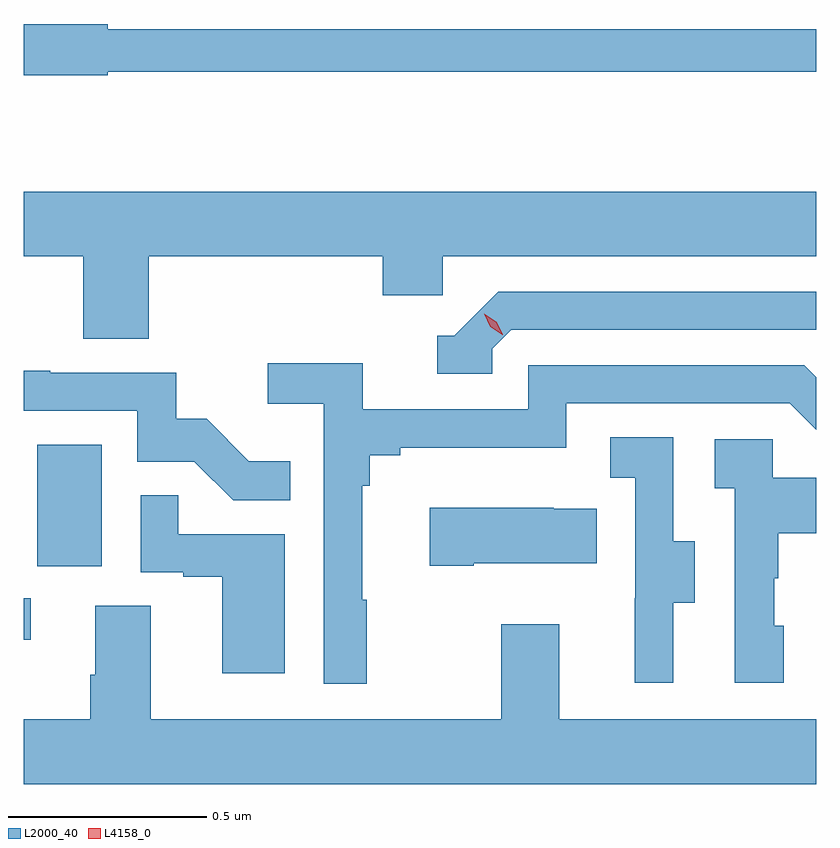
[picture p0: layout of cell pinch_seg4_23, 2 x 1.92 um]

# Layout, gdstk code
import gdstk
lib = gdstk.Library(unit=1e-6, precision=1e-09)
def R(c, l, rs):  # rectangles x0, y0, x1, y1
    for r in rs: c.add(gdstk.rectangle(r[:2], r[2:], *l))
def P(c, l, *ps):  # polygons
    for p in ps: c.add(gdstk.Polygon(p, *l))
L2000_40 = (2000, 40)
L4158_0 = (4158, 0)

pinch_seg4_23 = lib.new_cell('pinch_seg4_23')
R(pinch_seg4_23, L2000_40, [(1104.125,819.828,1104.142,819.933), (1104.158,820.014,1104.322,820.321)])
P(pinch_seg4_23, L2000_40, [(1104.336,821.262),(1106.125,821.262),(1106.125,821.37),(1104.336,821.37),(1104.336,821.383),(1104.125,821.383),(1104.125,821.254),(1104.336,821.254)],
  [(1104.44,820.796),(1105.031,820.796),(1105.031,820.698),(1105.182,820.698),(1105.182,820.796),(1106.125,820.796),(1106.125,820.96),(1104.125,820.96),(1104.125,820.796),(1104.275,820.796),(1104.275,820.588),(1104.44,820.588)],
  [(1105.308,820.563),(1105.356,820.611),(1106.125,820.611),(1106.125,820.707),(1105.323,820.707),(1105.212,820.596),(1105.169,820.596),(1105.169,820.5),(1105.308,820.5)],
  [(1104.991,819.929),(1104.979,819.929),(1104.979,820.217),(1104.998,820.217),(1104.998,820.294),(1105.075,820.294),(1105.075,820.313),(1105.494,820.313),(1105.494,820.425),(1106.058,820.425),(1106.125,820.358),(1106.125,820.491),(1106.095,820.521),(1105.398,820.521),(1105.398,820.41),(1104.98,820.41),(1104.98,820.526),(1104.741,820.526),(1104.741,820.424),(1104.882,820.424),(1104.882,819.717),(1104.991,819.717)],
  [(1104.797,820.279),(1104.693,820.279),(1104.586,820.386),(1104.51,820.386),(1104.51,820.503),(1104.191,820.503),(1104.191,820.508),(1104.125,820.508),(1104.125,820.407),(1104.411,820.407),(1104.411,820.278),(1104.555,820.278),(1104.653,820.18),(1104.797,820.18)],
  [(1105.765,819.922),(1105.819,819.922),(1105.819,820.077),(1105.764,820.077),(1105.764,820.34),(1105.605,820.34),(1105.605,820.237),(1105.668,820.237),(1105.668,819.933),(1105.667,819.933),(1105.667,819.72),(1105.765,819.72)],
  [(1106.044,819.864),(1106.019,819.864),(1106.019,819.983),(1106.029,819.983),(1106.029,820.097),(1106.125,820.097),(1106.125,820.237),(1106.016,820.237),(1106.016,820.335),(1105.869,820.335),(1105.869,820.211),(1105.92,820.211),(1105.92,819.72),(1106.044,819.72)],
  [(1104.784,820.095),(1104.515,820.095),(1104.515,820.193),(1104.42,820.193),(1104.42,819.999),(1104.527,819.999),(1104.527,819.987),(1104.626,819.987),(1104.626,819.744),(1104.784,819.744)],
  [(1105.261,820.022),(1105.571,820.022),(1105.571,820.159),(1105.463,820.159),(1105.463,820.162),(1105.149,820.162),(1105.149,820.015),(1105.261,820.015)],
  [(1106.125,819.628),(1105.477,819.628),(1105.477,819.868),(1105.33,819.868),(1105.33,819.628),(1104.445,819.628),(1104.445,819.914),(1104.305,819.914),(1104.305,819.74),(1104.293,819.74),(1104.293,819.628),(1104.125,819.628),(1104.125,819.464),(1106.125,819.464)])
P(pinch_seg4_23, L4158_0, [(1105.333,820.598),(1105.303,820.618),(1105.287,820.651),(1105.287,820.651),(1105.287,820.651),(1105.318,820.631),(1105.334,820.599),(1105.334,820.598)])

lib.write_gds('pinch_seg4_23.gds')
